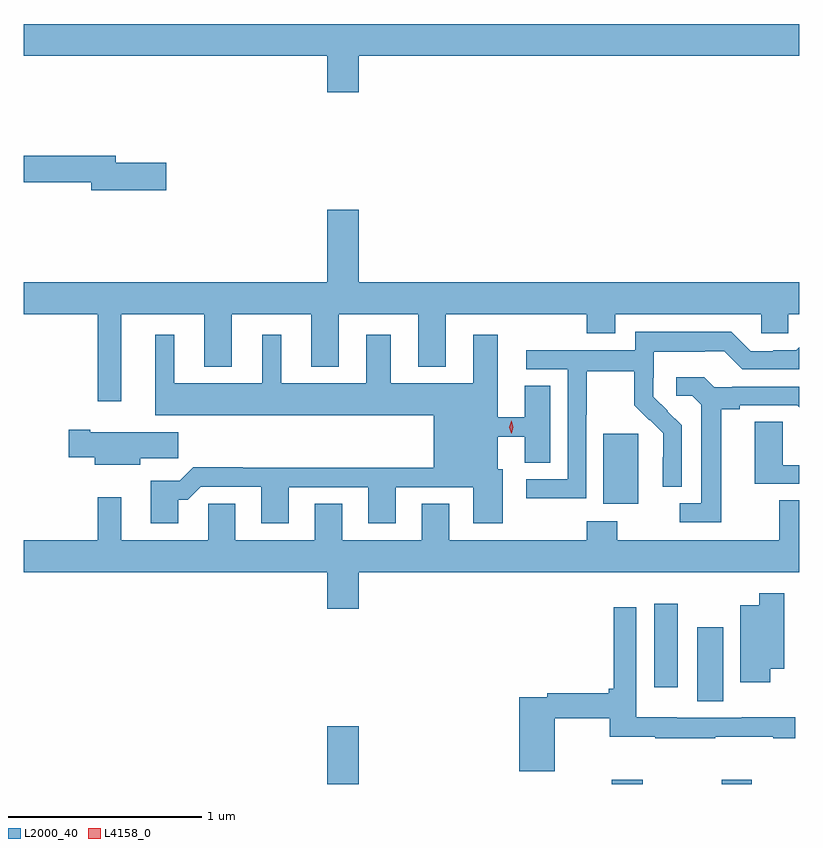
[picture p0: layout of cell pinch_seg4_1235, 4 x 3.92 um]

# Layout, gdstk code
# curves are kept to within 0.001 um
import gdstk
lib = gdstk.Library(unit=1e-6, precision=1e-09)
def R(c, l, rs):  # rectangles x0, y0, x1, y1
    for r in rs: c.add(gdstk.rectangle(r[:2], r[2:], *l))
def P(c, l, *ps):  # polygons
    for p in ps: c.add(gdstk.Polygon(p, *l))
L2000_40 = (2000, 40)
L4158_0 = (4158, 0)

pinch_seg4_1235 = lib.new_cell('pinch_seg4_1235')
R(pinch_seg4_1235, L2000_40, [(236.936,751.772,237.1,752.071), (238.403,751.772,238.563,751.795), (238.972,751.772,239.127,751.795), (238.844,752.2,238.978,752.581), (238.622,752.271,238.744,752.701), (238.361,753.218,238.54,753.579)])
P(pinch_seg4_1235, L2000_40, [(237.1,755.528),(239.371,755.528),(239.371,755.692),(235.371,755.692),(235.371,755.528),(236.936,755.528),(236.936,755.34),(237.1,755.34)],
  [(236.107,754.976),(235.846,754.976),(235.846,755.012),(235.371,755.012),(235.371,754.876),(235.718,754.876),(235.718,754.834),(236.107,754.834)],
  [(235.371,754.196),(235.752,754.196),(235.752,753.747),(235.873,753.747),(235.873,754.196),(236.303,754.196),(236.303,753.923),(236.443,753.923),(236.443,754.196),(236.855,754.196),(236.855,753.923),(236.995,753.923),(236.995,754.196),(237.407,754.196),(237.407,753.923),(237.547,753.923),(237.547,754.196),(238.276,754.196),(238.276,754.097),(238.423,754.097),(238.423,754.196),(239.175,754.196),(239.175,754.098),(239.313,754.098),(239.313,754.196),(239.371,754.196),(239.371,754.36),(237.1,754.36),(237.1,754.735),(236.936,754.735),(236.936,754.36),(235.371,754.36)],
  [(238.176,753.912),(238.176,753.345),(237.963,753.345),(237.963,753.247),(238.272,753.247),(238.272,753.676),(238.275,753.676),(238.275,753.9),(238.519,753.9),(238.519,753.725),(238.596,753.648),(238.599,753.651),(238.67,753.581),(238.67,753.458),(238.668,753.458),(238.668,753.304),(238.764,753.304),(238.764,753.622),(238.618,753.77),(238.618,753.867),(238.62,753.867),(238.62,754.001),(238.883,754.001),(238.883,754.005),(238.983,754.005),(239.076,753.912),(239.371,753.912),(239.371,754.024),(239.355,754.008),(239.237,754.008),(239.237,754.005),(239.121,754.005),(239.021,754.105),(238.524,754.105),(238.524,754.008),(237.963,754.008),(237.963,753.912)],
  [(236.167,753.239),(236.216,753.239),(236.283,753.306),(236.597,753.306),(236.597,753.117),(236.737,753.117),(236.737,753.303),(237.149,753.303),(237.149,753.117),(237.289,753.117),(237.289,753.303),(237.689,753.303),(237.689,753.117),(237.841,753.117),(237.841,753.396),(237.817,753.396),(237.817,753.563),(237.956,753.563),(237.956,753.43),(238.087,753.43),(238.087,753.827),(237.956,753.827),(237.956,753.663),(237.817,753.663),(237.817,754.09),(237.689,754.09),(237.689,753.838),(237.265,753.838),(237.265,754.09),(237.137,754.09),(237.137,753.838),(236.698,753.838),(236.698,754.09),(236.6,754.09),(236.6,753.838),(236.146,753.838),(236.146,754.09),(236.048,754.09),(236.048,753.674),(237.485,753.674),(237.485,753.404),(236.501,753.404),(236.501,753.407),(236.246,753.407),(236.176,753.337),(236.027,753.337),(236.027,753.117),(236.167,753.117)],
  [(238.969,753.704),(239.065,753.704),(239.065,753.726),(239.36,753.726),(239.371,753.715),(239.371,753.822),(239.026,753.822),(239.026,753.819),(238.932,753.819),(238.88,753.871),(238.737,753.871),(238.737,753.774),(238.818,753.774),(238.865,753.727),(238.865,753.219),(238.755,753.219),(238.755,753.123),(238.969,753.123)],
  [(239.371,753.417),(239.286,753.417),(239.286,753.641),(239.141,753.641),(239.141,753.321),(239.371,753.321)],
  [(235.972,753.451),(236.167,753.451),(236.167,753.586),(235.714,753.586),(235.714,753.599),(235.602,753.599),(235.602,753.457),(235.736,753.457),(235.736,753.419),(235.972,753.419)],
  [(237.1,752.864),(239.371,752.864),(239.371,753.236),(239.267,753.236),(239.267,753.028),(238.431,753.028),(238.431,753.127),(238.276,753.127),(238.276,753.028),(237.565,753.028),(237.565,753.218),(237.425,753.218),(237.425,753.028),(237.013,753.028),(237.013,753.218),(236.873,753.218),(236.873,753.028),(236.461,753.028),(236.461,753.218),(236.322,753.218),(236.322,753.028),(235.873,753.028),(235.873,753.25),(235.752,753.25),(235.752,753.028),(235.371,753.028),(235.371,752.864),(236.936,752.864),(236.936,752.676),(237.1,752.676)],
  [(239.221,752.366),(239.293,752.366),(239.293,752.755),(239.164,752.755),(239.164,752.695),(239.066,752.695),(239.066,752.298),(239.221,752.298)],
  [(238.109,752.112),(238.393,752.112),(238.393,752.017),(238.627,752.017),(238.627,752.007),(238.937,752.007),(238.937,752.017),(239.237,752.017),(239.237,752.007),(239.35,752.007),(239.35,752.117),(239.074,752.117),(239.074,752.115),(238.74,752.115),(238.74,752.116),(238.53,752.116),(238.53,752.683),(238.414,752.683),(238.414,752.264),(238.388,752.264),(238.388,752.24),(238.072,752.24),(238.072,752.22),(237.926,752.22),(237.926,751.839),(238.109,751.839)])
P(pinch_seg4_1235, L4158_0, [(237.886,753.58),(237.886,753.58),(237.876,753.612),(237.886,753.644),(237.886,753.645),(237.887,753.644),(237.896,753.612),(237.887,753.58)])

lib.write_gds('pinch_seg4_1235.gds')
